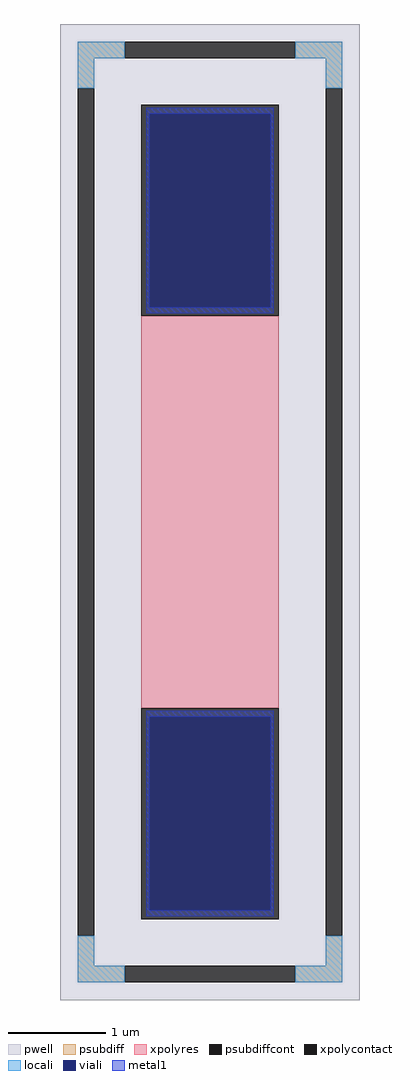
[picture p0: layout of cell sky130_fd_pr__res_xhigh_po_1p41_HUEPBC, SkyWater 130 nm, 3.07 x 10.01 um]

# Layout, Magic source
magic
tech sky130A
magscale 1 2
<< pwell >>
rect -307 -1001 307 1001
<< psubdiff >>
rect -271 931 -175 965
rect 175 931 271 965
rect -271 869 -237 931
rect 237 869 271 931
rect -271 -931 -237 -869
rect 237 -931 271 -869
rect -271 -965 -175 -931
rect 175 -965 271 -931
<< psubdiffcont >>
rect -175 931 175 965
rect -271 -869 -237 869
rect 237 -869 271 869
rect -175 -965 175 -931
<< xpolycontact >>
rect -141 403 141 835
rect -141 -835 141 -403
<< xpolyres >>
rect -141 -403 141 403
<< locali >>
rect -271 931 -175 965
rect 175 931 271 965
rect -271 869 -237 931
rect 237 869 271 931
rect -271 -931 -237 -869
rect 237 -931 271 -869
rect -271 -965 -175 -931
rect 175 -965 271 -931
<< viali >>
rect -125 420 125 817
rect -125 -817 125 -420
<< metal1 >>
rect -131 817 131 829
rect -131 420 -125 817
rect 125 420 131 817
rect -131 408 131 420
rect -131 -420 131 -408
rect -131 -817 -125 -420
rect 125 -817 131 -420
rect -131 -829 131 -817
<< properties >>
string FIXED_BBOX -254 -948 254 948
string gencell sky130_fd_pr__res_xhigh_po_1p41
string library sky130
string parameters w 1.410 l 4.193 m 1 nx 1 wmin 1.410 lmin 0.50 rho 2000 val 6.214k dummy 0 dw 0.0 term 188.2 sterm 0.0 caplen 0 wmax 1.410 guard 1 glc 1 grc 1 gtc 1 gbc 1 compatible {sky130_fd_pr__res_xhigh_po_0p35  sky130_fd_pr__res_xhigh_po_0p69 sky130_fd_pr__res_xhigh_po_1p41  sky130_fd_pr__res_xhigh_po_2p85 sky130_fd_pr__res_xhigh_po_5p73} snake 0 full_metal 1 n_guard 0 hv_guard 0 vias 1 viagb 0 viagt 0 viagl 0 viagr 0
<< end >>
